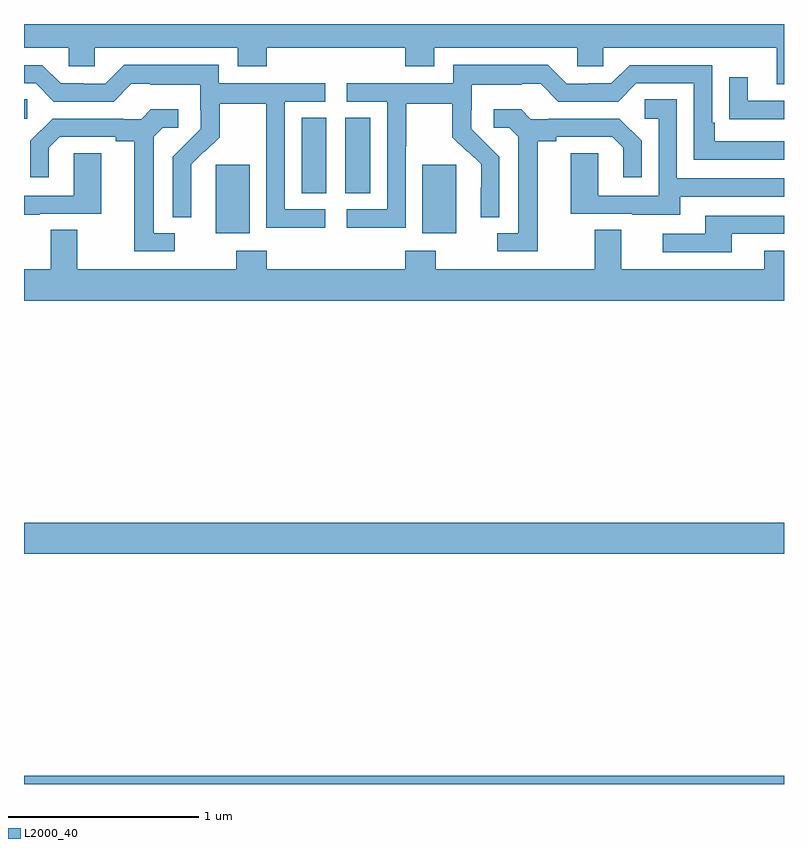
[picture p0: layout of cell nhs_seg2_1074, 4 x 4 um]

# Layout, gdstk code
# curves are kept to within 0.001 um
import gdstk
lib = gdstk.Library(unit=1e-6, precision=1e-09)
def R(c, l, rs):  # rectangles x0, y0, x1, y1
    for r in rs: c.add(gdstk.rectangle(r[:2], r[2:], *l))
def P(c, l, *ps):  # polygons
    for p in ps: c.add(gdstk.Polygon(p, *l))
L2000_40 = (2000, 40)

nhs_seg2_1074 = lib.new_cell('nhs_seg2_1074')
R(nhs_seg2_1074, L2000_40, [(167,603.8,171,603.844), (167,605.012,171,605.176), (168.008,606.698,168.187,607.059), (169.097,606.698,169.276,607.059), (168.461,606.91,168.592,607.307), (168.692,606.91,168.823,607.307), (167,607.302,167.017,607.403)])
P(nhs_seg2_1074, L2000_40, [(171,607.8),(167,607.8),(167,607.676),(167.235,607.676),(167.235,607.578),(167.373,607.578),(167.373,607.676),(168.125,607.676),(168.125,607.577),(168.278,607.577),(168.278,607.676),(169.007,607.676),(169.007,607.577),(169.159,607.577),(169.159,607.676),(169.911,607.676),(169.911,607.578),(170.049,607.578),(170.049,607.676),(170.963,607.676),(170.963,607.482),(171,607.482)],
  [(168.586,606.825),(168.372,606.825),(168.372,607.392),(168.586,607.392),(168.586,607.488),(168.024,607.488),(168.024,607.585),(167.527,607.585),(167.427,607.485),(167.312,607.485),(167.312,607.488),(167.193,607.488),(167.097,607.584),(167,607.584),(167,607.488),(167.061,607.488),(167.157,607.392),(167.472,607.392),(167.565,607.485),(167.665,607.485),(167.665,607.481),(167.928,607.481),(167.928,607.347),(167.93,607.347),(167.93,607.25),(167.784,607.102),(167.784,606.784),(167.88,606.784),(167.879,607.061),(167.949,607.131),(167.952,607.128),(168.029,607.205),(168.029,607.38),(168.274,607.38),(168.274,607.156),(168.276,607.156),(168.276,606.727),(168.586,606.727)],
  [(169.008,607.156),(169.011,607.156),(169.011,607.38),(169.255,607.38),(169.255,607.205),(169.332,607.128),(169.335,607.131),(169.406,607.061),(169.406,606.938),(169.404,606.938),(169.404,606.784),(169.5,606.784),(169.5,607.102),(169.354,607.25),(169.354,607.347),(169.356,607.347),(169.356,607.481),(169.619,607.481),(169.619,607.485),(169.719,607.485),(169.812,607.392),(170.127,607.392),(170.223,607.488),(170.526,607.488),(170.526,607.086),(171,607.086),(171,607.182),(170.635,607.182),(170.635,607.279),(170.622,607.279),(170.622,607.584),(170.187,607.584),(170.091,607.488),(169.973,607.488),(169.973,607.485),(169.857,607.485),(169.757,607.585),(169.26,607.585),(169.26,607.488),(168.699,607.488),(168.699,607.392),(168.912,607.392),(168.912,606.825),(168.699,606.825),(168.699,606.727),(169.008,606.727)],
  [(171,607.395),(170.809,607.395),(170.809,607.519),(170.713,607.519),(170.713,607.3),(170.815,607.3),(170.815,607.299),(171,607.299)],
  [(170.455,606.891),(171,606.891),(171,606.987),(170.436,606.987),(170.436,607.403),(170.268,607.403),(170.268,607.302),(170.34,607.302),(170.34,606.897),(170.022,606.897),(170.022,607.121),(169.877,607.121),(169.877,606.801),(170.201,606.801),(170.201,606.797),(170.455,606.797)],
  [(167.794,606.699),(167.683,606.699),(167.683,607.207),(167.73,607.254),(167.812,607.254),(167.812,607.351),(167.668,607.351),(167.616,607.299),(167.522,607.299),(167.522,607.302),(167.15,607.302),(167.034,607.186),(167.034,606.993),(167.131,606.993),(167.131,607.149),(167.188,607.206),(167.483,607.206),(167.483,607.184),(167.579,607.184),(167.579,606.603),(167.794,606.603)],
  [(169.705,607.184),(169.801,607.184),(169.801,607.206),(170.096,607.206),(170.153,607.149),(170.153,606.993),(170.25,606.993),(170.25,607.186),(170.134,607.302),(169.762,607.302),(169.762,607.299),(169.668,607.299),(169.616,607.351),(169.473,607.351),(169.473,607.254),(169.554,607.254),(169.601,607.207),(169.601,606.699),(169.491,606.699),(169.491,606.603),(169.705,606.603)],
  [(167.083,606.801),(167.407,606.801),(167.407,607.121),(167.262,607.121),(167.262,606.897),(167,606.897),(167,606.797),(167.083,606.797)],
  [(170.725,606.696),(171,606.696),(171,606.792),(170.585,606.792),(170.585,606.696),(170.361,606.696),(170.361,606.6),(170.725,606.6)],
  [(171,606.607),(170.897,606.607),(170.897,606.508),(170.143,606.508),(170.143,606.716),(170.003,606.716),(170.003,606.508),(169.167,606.508),(169.167,606.607),(169.007,606.607),(169.007,606.508),(168.278,606.508),(168.278,606.607),(168.118,606.607),(168.118,606.508),(167.281,606.508),(167.281,606.716),(167.141,606.716),(167.141,606.508),(167,606.508),(167,606.344),(171,606.344)])

lib.write_gds('nhs_seg2_1074.gds')
